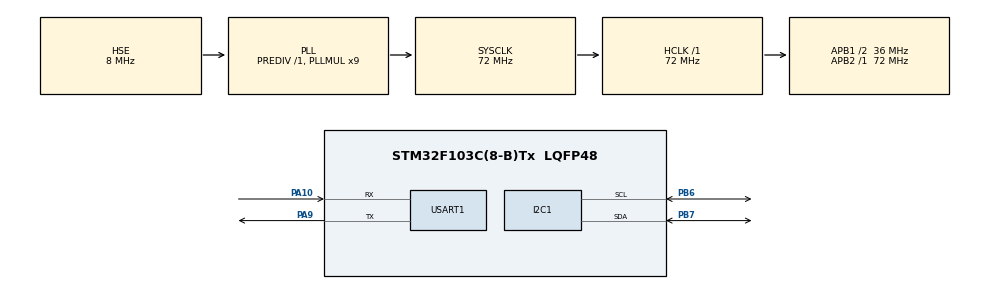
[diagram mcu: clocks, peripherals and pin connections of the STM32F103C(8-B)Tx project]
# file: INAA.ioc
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Mcu.Family=STM32F1
Mcu.Name=STM32F103C(8-B)Tx
Mcu.Package=LQFP48
NVIC.I2C1_ER_IRQn=true\:1\:0\:true\:false\:true\:true\:true\:true
NVIC.I2C1_EV_IRQn=true\:1\:0\:true\:false\:true\:true\:true\:true
NVIC.PriorityGroup=NVIC_PRIORITYGROUP_4
NVIC.USART1_IRQn=true\:5\:0\:true\:false\:true\:true\:true\:true
PA10.Mode=Asynchronous
PA10.Signal=USART1_RX
PA9.Mode=Asynchronous
PA9.Signal=USART1_TX
PB6.Mode=I2C
PB6.Signal=I2C1_SCL
PB7.Mode=I2C
PB7.Signal=I2C1_SDA
PD0-OSC_IN.Mode=HSE-External-Oscillator
PD0-OSC_IN.Signal=RCC_OSC_IN
PD1-OSC_OUT.Mode=HSE-External-Oscillator
PD1-OSC_OUT.Signal=RCC_OSC_OUT
ProjectManager.HeapSize=0x200
ProjectManager.StackSize=0x400
ProjectManager.TargetToolchain=STM32CubeIDE
RCC.AHBFreq_Value=72000000
RCC.APB1CLKDivider=RCC_HCLK_DIV2
RCC.APB1Freq_Value=36000000
RCC.APB1TimFreq_Value=72000000
RCC.APB2Freq_Value=72000000
RCC.APB2TimFreq_Value=72000000
RCC.HCLKFreq_Value=72000000
RCC.PLLMUL=RCC_PLL_MUL9
RCC.PLLSourceVirtual=RCC_PLLSOURCE_HSE
RCC.SYSCLKFreq_VALUE=72000000
RCC.SYSCLKSource=RCC_SYSCLKSOURCE_PLLCLK
RCC.USBFreq_Value=72000000
USART1.VirtualMode=VM_ASYNC
board=custom

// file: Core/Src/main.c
/* USER CODE BEGIN Header */
/**
  ******************************************************************************
  * @file           : main.c
  * @brief          : Main program body
  ******************************************************************************
  * @attention
  *
  * Copyright (c) 2023 STMicroelectronics.
  * All rights reserved.
  *
  * This software is licensed under terms that can be found in the LICENSE file
  * in the root directory of this software component.
  * If no LICENSE file comes with this software, it is provided AS-IS.
  *
  ******************************************************************************
  */
/* USER CODE END Header */
#include "main.h"

/* USER CODE BEGIN Includes */
#include "stdio.h"
#include "INA219.h"
/* USER CODE END Includes */

I2C_HandleTypeDef hi2c1;

UART_HandleTypeDef huart1;

/* USER CODE BEGIN PV */
INA219_t ina219;
float vbus = 0, vshunt = 0, current = 0;
/* USER CODE END PV */

void SystemClock_Config(void);
static void MX_GPIO_Init(void);
static void MX_USART1_UART_Init(void);
static void MX_I2C1_Init(void);
/* USER CODE BEGIN PFP */
#ifdef __GNUC__
 #define PUTCHAR_PROTOTYPE int __io_putchar(int ch)
#else
 #define PUTCHAR_PROTOTYPE int fputc(int ch, FILE *f)
#endif /* __GNUC__ */
PUTCHAR_PROTOTYPE
{
 HAL_UART_Transmit(&huart1, (uint8_t *)&ch, 1, 100);
 return ch;
}
/* USER CODE END PFP */

int main(void)
{

  /* MCU Configuration--------------------------------------------------------*/

  /* Reset of all peripherals, Initializes the Flash interface and the Systick. */
  HAL_Init();

  /* Configure the system clock */
  SystemClock_Config();

  /* Initialize all configured peripherals */
  MX_GPIO_Init();
  MX_USART1_UART_Init();
  MX_I2C1_Init();
  /* USER CODE BEGIN 2 */
  while(!INA219_Init(&ina219, &hi2c1, INA219_ADDRESS)){
  }

  vbus = (float)INA219_ReadBusVoltage(&ina219);
  vshunt = (float)INA219_ReadShuntVolage(&ina219);
  current = (float)INA219_ReadCurrent(&ina219);

  printf("\r\nVbus:%.0f", vbus);
  printf("\r\nVshunt:%.0f,I:%.0f\r\n", vshunt, current);

  /* USER CODE END 2 */

  /* Infinite loop */
  while (1)
  {

  }
}

void SystemClock_Config(void)
{
  RCC_OscInitTypeDef RCC_OscInitStruct = {0};
  RCC_ClkInitTypeDef RCC_ClkInitStruct = {0};

  /** Initializes the RCC Oscillators according to the specified parameters
  * in the RCC_OscInitTypeDef structure.
  */
  RCC_OscInitStruct.OscillatorType = RCC_OSCILLATORTYPE_HSE;
  RCC_OscInitStruct.HSEState = RCC_HSE_ON;
  RCC_OscInitStruct.HSEPredivValue = RCC_HSE_PREDIV_DIV1;
  RCC_OscInitStruct.HSIState = RCC_HSI_ON;
  RCC_OscInitStruct.PLL.PLLState = RCC_PLL_ON;
  RCC_OscInitStruct.PLL.PLLSource = RCC_PLLSOURCE_HSE;
  RCC_OscInitStruct.PLL.PLLMUL = RCC_PLL_MUL9;
  if (HAL_RCC_OscConfig(&RCC_OscInitStruct) != HAL_OK)
  {
    Error_Handler();
  }

  /** Initializes the CPU, AHB and APB buses clocks
  */
  RCC_ClkInitStruct.ClockType = RCC_CLOCKTYPE_HCLK|RCC_CLOCKTYPE_SYSCLK
                              |RCC_CLOCKTYPE_PCLK1|RCC_CLOCKTYPE_PCLK2;
  RCC_ClkInitStruct.SYSCLKSource = RCC_SYSCLKSOURCE_PLLCLK;
  RCC_ClkInitStruct.AHBCLKDivider = RCC_SYSCLK_DIV1;
  RCC_ClkInitStruct.APB1CLKDivider = RCC_HCLK_DIV2;
  RCC_ClkInitStruct.APB2CLKDivider = RCC_HCLK_DIV1;

  if (HAL_RCC_ClockConfig(&RCC_ClkInitStruct, FLASH_LATENCY_2) != HAL_OK)
  {
    Error_Handler();
  }
}

static void MX_I2C1_Init(void)
{

  hi2c1.Instance = I2C1;
  hi2c1.Init.ClockSpeed = 100000;
  hi2c1.Init.DutyCycle = I2C_DUTYCYCLE_2;
  hi2c1.Init.OwnAddress1 = 0;
  hi2c1.Init.AddressingMode = I2C_ADDRESSINGMODE_7BIT;
  hi2c1.Init.DualAddressMode = I2C_DUALADDRESS_DISABLE;
  hi2c1.Init.OwnAddress2 = 0;
  hi2c1.Init.GeneralCallMode = I2C_GENERALCALL_DISABLE;
  hi2c1.Init.NoStretchMode = I2C_NOSTRETCH_DISABLE;
  if (HAL_I2C_Init(&hi2c1) != HAL_OK)
  {
    Error_Handler();
  }

}

static void MX_USART1_UART_Init(void)
{

  huart1.Instance = USART1;
  huart1.Init.BaudRate = 115200;
  huart1.Init.WordLength = UART_WORDLENGTH_8B;
  huart1.Init.StopBits = UART_STOPBITS_1;
  huart1.Init.Parity = UART_PARITY_NONE;
  huart1.Init.Mode = UART_MODE_TX_RX;
  huart1.Init.HwFlowCtl = UART_HWCONTROL_NONE;
  huart1.Init.OverSampling = UART_OVERSAMPLING_16;
  if (HAL_UART_Init(&huart1) != HAL_OK)
  {
    Error_Handler();
  }

}

static void MX_GPIO_Init(void)
{

  /* GPIO Ports Clock Enable */
  __HAL_RCC_GPIOD_CLK_ENABLE();
  __HAL_RCC_GPIOA_CLK_ENABLE();
  __HAL_RCC_GPIOB_CLK_ENABLE();

}

void Error_Handler(void)
{
  __disable_irq();
  while (1)
  {
  }
}
